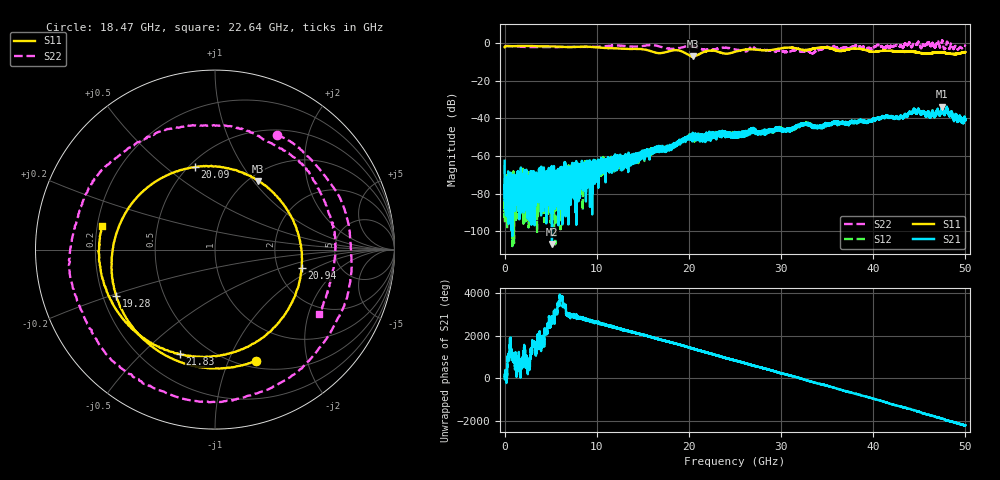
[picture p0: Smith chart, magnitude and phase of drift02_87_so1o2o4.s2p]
!Created with skrf (http://scikit-rf.org).
# Hz S RI R 50.0
!freq ReS11 ImS11 ReS21 ImS21 ReS12 ImS12 ReS22 ImS22
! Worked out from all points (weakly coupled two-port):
!   10001 points, 300 kHz to 50 GHz, reference 50 ohm
!   highest |S21| = -33.65 dB at 47.48 GHz (marker M1); lowest = -106.9 dB at 5.14 GHz (marker M2)
!   lowest |S11| = -6.9 dB at 20.41 GHz (marker M3), VSWR 2.65, Z = 55.1 + j52.9 ohm
!   |S11| at or under -10 dB: nowhere
!   |S22| runs from -5.4 to 1.6 dB; largest |S21 - S12| = 0.003
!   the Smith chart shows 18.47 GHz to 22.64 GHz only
!   S11 on the Smith chart (normalised r, x): 18.47 GHz: 0.58, -1.26; 19.28 GHz: 0.26, -0.21; 20.09 GHz: 0.54, +0.63; 20.94 GHz: 2.71, -0.74; 21.83 GHz: 0.35, -0.66; 22.64 GHz: 0.22, +0.10
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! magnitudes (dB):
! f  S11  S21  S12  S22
! 300 kHz  -2.0  -62.6  -64.9  -1.3
! 265.3 MHz  -1.4  -79.6  -78.9  -1.4
! 5.14 GHz  -1.6  -106.9  -71.6  -2.0
! 8.335 GHz  -1.7  -64.0  -69.8  -1.9
! 16.67 GHz  -5.2  -56.6  -56.5  -1.4
! 18.47 GHz  -3.6  -53.7  -54.0  -2.8
! 19.28 GHz  -4.3  -52.3  -51.5  -2.1
! 20.09 GHz  -6.5  -50.8  -49.4  -1.5
! 20.41 GHz  -6.9  -49.2  -49.6  -1.7
! 20.94 GHz  -6.1  -50.0  -50.3  -2.1
! 21.83 GHz  -4.2  -49.2  -50.8  -3.4
! 22.64 GHz  -3.8  -48.2  -47.6  -3.3
! 25 GHz  -4.5  -48.8  -48.2  -3.2
! 26.11 GHz  -3.3  -47.1  -48.2  -4.3
! 26.9 GHz  -3.2  -46.8  -46.6  -1.7
! 33.34 GHz  -3.0  -43.6  -43.6  -5.2
! 34.9 GHz  -2.4  -44.0  -43.5  -2.1
! 41.67 GHz  -3.9  -39.4  -39.4  -2.1
! 44.38 GHz  -4.4  -35.4  -35.2  0.1
! 46.02 GHz  -5.4  -37.0  -36.7  1.1
! 47.48 GHz  -4.9  -33.7  -34.0  1.5
! 50 GHz  -4.7  -40.4  -40.4  -1.5
